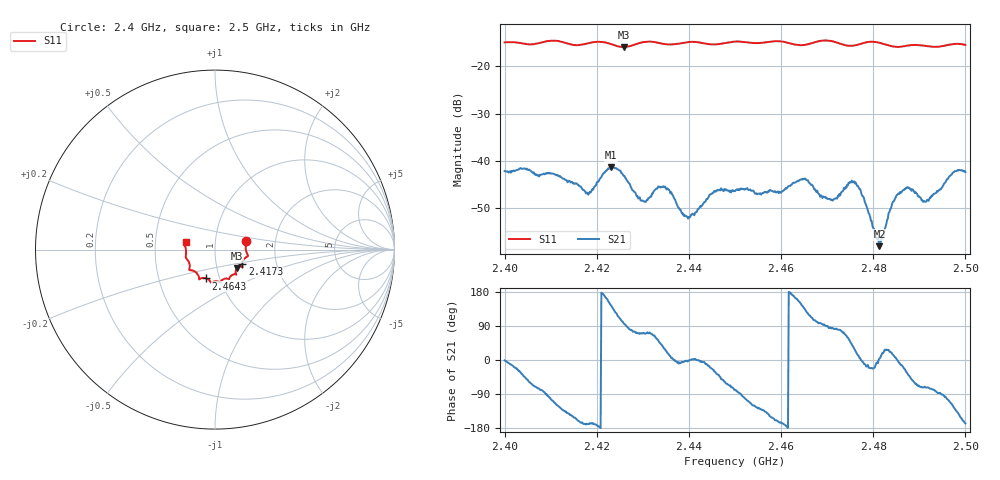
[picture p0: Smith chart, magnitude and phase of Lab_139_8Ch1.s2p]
# Hz S RI R 50
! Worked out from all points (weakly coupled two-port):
!   601 points, 2.4 GHz to 2.5 GHz, reference 50 ohm
!   highest |S21| = -41.30 dB at 2.4232 GHz (marker M1); lowest = -58.0 dB at 2.4813 GHz (marker M2)
!   lowest |S11| = -15.9 dB at 2.4258 GHz (marker M3), VSWR 1.38, Z = 62.4 - j13.3 ohm
!   |S11| at or under -10 dB: start of sweep to end of sweep
!   S12 and S22 are empty: the file has one direction only
!   S11 on the Smith chart (normalised r, x): 2.4 GHz: 1.41, +0.14; 2.4173 GHz: 1.34, -0.23; 2.4643 GHz: 0.86, -0.28; 2.5 GHz: 0.72, +0.06
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2.4e9  0.1729 0.0493  0.00783 -0.000158  0 0  0 0
2.416667e9  0.1524 -0.0746  -0.00507 -0.00133  0 0  0 0
2.417333e9  0.1516 -0.0817  -0.00476 -0.000955  0 0  0 0
2.423167e9  0.1444 -0.0936  -0.00687 0.00518  0 0  0 0
2.425833e9  0.1223 -0.1036  -0.000836 0.00694  0 0  0 0
2.43e9  0.1174 -0.137  0.00126 0.00361  0 0  0 0
2.433333e9  0.1124 -0.1376  0.0033 0.00425  0 0  0 0
2.435833e9  0.0952 -0.1418  0.00474 0.000932  0 0  0 0
2.439667e9  0.0793 -0.1621  0.00257 -0.000161  0 0  0 0
2.445667e9  0.0505 -0.1634  0.00414 -0.0025  0 0  0 0
2.45e9  0.0289 -0.181  0.00093 -0.0047  0 0  0 0
2.4595e9  -0.0234 -0.1835  -0.00438 -0.00128  0 0  0 0
2.464333e9  -0.0499 -0.1604  -0.00539 0.00343  0 0  0 0
2.466667e9  -0.0758 -0.1592  -0.0021 0.00521  0 0  0 0
2.471167e9  -0.0879 -0.1621  0.000348 0.0038  0 0  0 0
2.475833e9  -0.115 -0.1203  0.00524 0.00314  0 0  0 0
2.481333e9  -0.1424 -0.1071  0.00125 8.09e-05  0 0  0 0
2.483333e9  -0.1405 -0.0896  0.0025 0.00126  0 0  0 0
2.487e9  -0.1551 -0.0558  0.00449 -0.00235  0 0  0 0
2.4915e9  -0.1617 -0.0303  0.00109 -0.00355  0 0  0 0
2.497333e9  -0.17 0.029  -0.00402 -0.00644  0 0  0 0
2.5e9  -0.1637 0.0427  -0.00746 -0.00167  0 0  0 0
